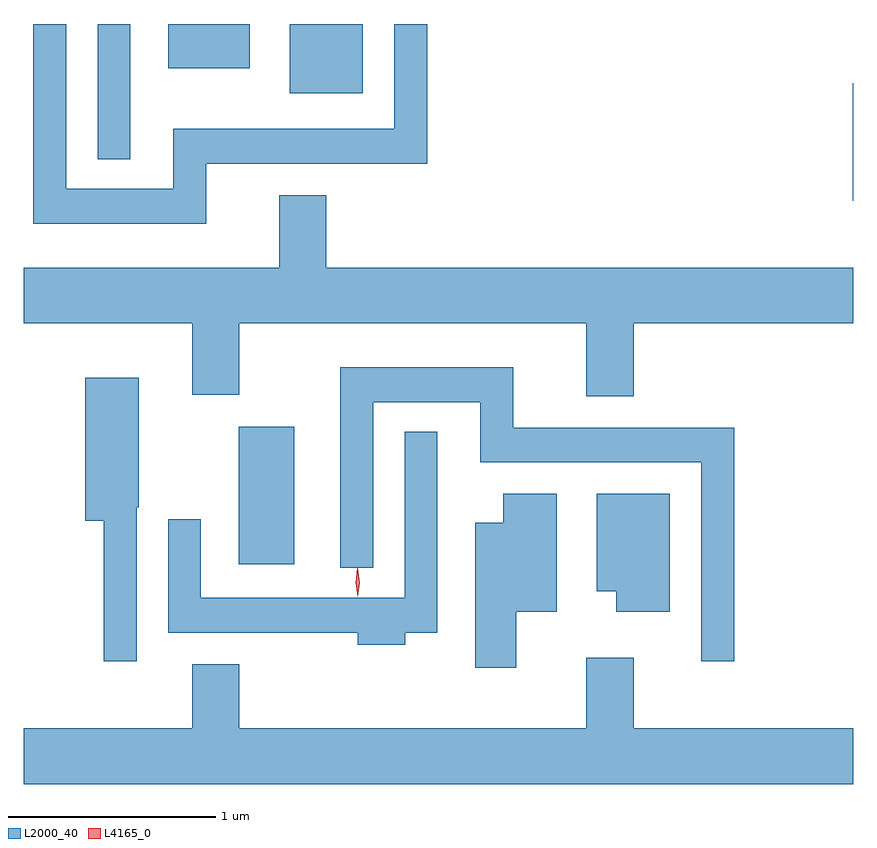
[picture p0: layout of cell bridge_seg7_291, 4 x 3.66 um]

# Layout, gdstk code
import gdstk
lib = gdstk.Library(unit=1e-6, precision=1e-09)
def R(c, l, rs):  # rectangles x0, y0, x1, y1
    for r in rs: c.add(gdstk.rectangle(r[:2], r[2:], *l))
def P(c, l, *ps):  # polygons
    for p in ps: c.add(gdstk.Polygon(p, *l))
L2000_40 = (2000, 40)
L4165_0 = (4165, 0)

bridge_seg7_291 = lib.new_cell('bridge_seg7_291')
R(bridge_seg7_291, L2000_40, [(1318.236,1797.516,1318.504,1798.179), (1321.196,1799.266,1321.199,1799.834), (1317.556,1799.468,1317.714,1800.119), (1318.481,1799.786,1318.834,1800.119), (1317.896,1799.906,1318.289,1800.119)])
P(bridge_seg7_291, L2000_40, [(1318.079,1799.446),(1319.144,1799.446),(1319.144,1800.119),(1318.986,1800.119),(1318.986,1799.614),(1317.921,1799.614),(1317.921,1799.324),(1317.404,1799.324),(1317.404,1800.119),(1317.246,1800.119),(1317.246,1799.156),(1318.079,1799.156)],
  [(1320.139,1798.676),(1321.199,1798.676),(1321.199,1798.944),(1318.659,1798.944),(1318.659,1799.294),(1318.431,1799.294),(1318.431,1798.944),(1317.199,1798.944),(1317.199,1798.676),(1318.011,1798.676),(1318.011,1798.331),(1318.239,1798.331),(1318.239,1798.676),(1319.911,1798.676),(1319.911,1798.326),(1320.139,1798.326)],
  [(1320.624,1798.174),(1319.559,1798.174),(1319.559,1798.464),(1318.726,1798.464),(1318.726,1797.498),(1318.884,1797.498),(1318.884,1798.296),(1319.401,1798.296),(1319.401,1798.006),(1320.466,1798.006),(1320.466,1797.048),(1320.624,1797.048)],
  [(1317.744,1797.79),(1317.754,1797.79),(1317.754,1798.414),(1317.496,1798.414),(1317.496,1797.726),(1317.586,1797.726),(1317.586,1797.048),(1317.744,1797.048)],
  [(1319.039,1797.186),(1319.194,1797.186),(1319.194,1798.153),(1319.036,1798.153),(1319.036,1797.354),(1318.054,1797.354),(1318.054,1797.733),(1317.896,1797.733),(1317.896,1797.186),(1318.811,1797.186),(1318.811,1797.126),(1319.039,1797.126)],
  [(1319.574,1797.286),(1319.769,1797.286),(1319.769,1797.854),(1319.511,1797.854),(1319.511,1797.714),(1319.376,1797.714),(1319.376,1797.016),(1319.574,1797.016)],
  [(1320.314,1797.854),(1319.961,1797.854),(1319.961,1797.386),(1320.056,1797.386),(1320.056,1797.286),(1320.314,1797.286)],
  [(1321.199,1796.724),(1320.139,1796.724),(1320.139,1797.064),(1319.911,1797.064),(1319.911,1796.724),(1318.239,1796.724),(1318.239,1797.034),(1318.011,1797.034),(1318.011,1796.724),(1317.199,1796.724),(1317.199,1796.456),(1321.199,1796.456)])
P(bridge_seg7_291, L4165_0, [(1318.81,1797.358),(1318.81,1797.358),(1318.799,1797.427),(1318.808,1797.496),(1318.808,1797.496),(1318.809,1797.496),(1318.819,1797.427),(1318.811,1797.358)],
  [(1318.81,1797.36),(1318.81,1797.36),(1318.799,1797.426),(1318.808,1797.493),(1318.808,1797.493),(1318.809,1797.493),(1318.819,1797.427),(1318.811,1797.36)])

lib.write_gds('bridge_seg7_291.gds')
